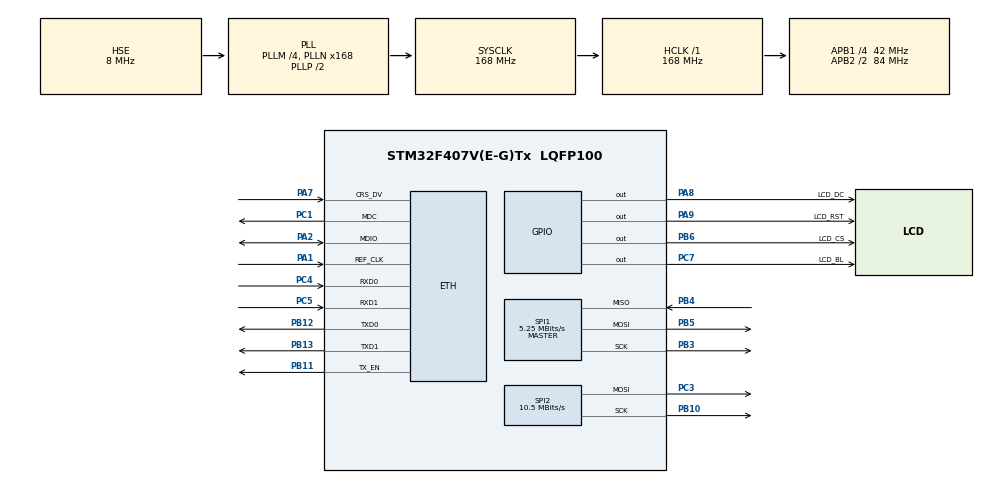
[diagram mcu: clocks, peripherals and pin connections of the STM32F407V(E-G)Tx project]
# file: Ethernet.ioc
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ETH.MediaInterface=ETH_MEDIA_INTERFACE_RMII
ETH.PHY_Name_RMII=DP83848_PHY_ADDRESS
LWIP.GATEWAY_ADDRESS=192.168.018.001
LWIP.IP_ADDRESS=192.168.018.254
LWIP.LWIP_DHCP=1
LWIP.NETMASK_ADDRESS=255.255.255.000
LWIP.Version=v2.1.2_Cube
Mcu.Family=STM32F4
Mcu.Name=STM32F407V(E-G)Tx
Mcu.Package=LQFP100
NVIC.PriorityGroup=NVIC_PRIORITYGROUP_4
NVIC.TIM4_IRQn=true\:1\:0\:true\:false\:true\:true\:true
PA1.Mode=RMII
PA1.Signal=ETH_REF_CLK
PA2.Mode=RMII
PA2.Signal=ETH_MDIO
PA7.Mode=RMII
PA7.Signal=ETH_CRS_DV
PA8.GPIO_Label=LCD_DC
PA8.Signal=GPIO_Output
PA9.GPIO_Label=LCD_RST
PA9.Signal=GPIO_Output
PB10.Mode=TX_Only_Simplex_Unidirect_Master
PB10.Signal=SPI2_SCK
PB11.Mode=RMII
PB11.Signal=ETH_TX_EN
PB12.Mode=RMII
PB12.Signal=ETH_TXD0
PB13.Mode=RMII
PB13.Signal=ETH_TXD1
PB3.Mode=Full_Duplex_Master
PB3.Signal=SPI1_SCK
PB4.Mode=Full_Duplex_Master
PB4.Signal=SPI1_MISO
PB5.Mode=Full_Duplex_Master
PB5.Signal=SPI1_MOSI
PB6.GPIO_Label=LCD_CS
PB6.Signal=GPIO_Output
PC1.Mode=RMII
PC1.Signal=ETH_MDC
PC3.Mode=TX_Only_Simplex_Unidirect_Master
PC3.Signal=SPI2_MOSI
PC4.Mode=RMII
PC4.Signal=ETH_RXD0
PC5.Mode=RMII
PC5.Signal=ETH_RXD1
PC7.GPIO_Label=LCD_BL
PC7.Signal=GPIO_Output
PH0-OSC_IN.Mode=HSE-External-Oscillator
PH0-OSC_IN.Signal=RCC_OSC_IN
PH1-OSC_OUT.Mode=HSE-External-Oscillator
PH1-OSC_OUT.Signal=RCC_OSC_OUT
ProjectManager.HeapSize=0x200
ProjectManager.StackSize=0x400
ProjectManager.TargetToolchain=STM32CubeIDE
RCC.48MHZClocksFreq_Value=84000000
RCC.AHBFreq_Value=168000000
RCC.APB1CLKDivider=RCC_HCLK_DIV4
RCC.APB1Freq_Value=42000000
RCC.APB1TimFreq_Value=84000000
RCC.APB2CLKDivider=RCC_HCLK_DIV2
RCC.APB2Freq_Value=84000000
RCC.APB2TimFreq_Value=168000000
RCC.CortexFreq_Value=168000000
RCC.HCLKFreq_Value=168000000
RCC.HSE_VALUE=8000000
RCC.HSI_VALUE=16000000
RCC.LSE_VALUE=32768
RCC.PLLM=4
RCC.PLLN=168
RCC.PLLSourceVirtual=RCC_PLLSOURCE_HSE
RCC.SYSCLKFreq_VALUE=168000000
RCC.SYSCLKSource=RCC_SYSCLKSOURCE_PLLCLK
RCC.VCOOutputFreq_Value=336000000
SPI1.BaudRatePrescaler=SPI_BAUDRATEPRESCALER_16
SPI1.CalculateBaudRate=5.25 MBits/s
SPI1.Direction=SPI_DIRECTION_2LINES
SPI1.Mode=SPI_MODE_MASTER
SPI1.VirtualType=VM_MASTER
SPI2.BaudRatePrescaler=SPI_BAUDRATEPRESCALER_4
SPI2.CLKPhase=SPI_PHASE_1EDGE
SPI2.CLKPolarity=SPI_POLARITY_LOW
SPI2.CalculateBaudRate=10.5 MBits/s
SPI2.Direction=SPI_DIRECTION_2LINES
SPI2.Mode=SPI_MODE_MASTER
SPI2.VirtualType=VM_MASTER
TIM4.Period=9999
TIM4.Prescaler=41999
VP_LWIP_VS_Enabled.Mode=Enabled
VP_TIM4_VS_ClockSourceINT.Mode=Internal
board=custom

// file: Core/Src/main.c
/* USER CODE BEGIN Header */
/**
  ******************************************************************************
  * @file           : main.c
  * @brief          : Main program body
  ******************************************************************************
  * @attention
  *
  * <h2><center>&copy; Copyright (c) 2020 STMicroelectronics.
  * All rights reserved.</center></h2>
  *
  * This software component is licensed by ST under BSD 3-Clause license,
  * the "License"; You may not use this file except in compliance with the
  * License. You may obtain a copy of the License at:
  *                        opensource.org/licenses/BSD-3-Clause
  *
  ******************************************************************************
  */
/* USER CODE END Header */

#include "main.h"
#include "lwip.h"

/* USER CODE BEGIN Includes */
#include "lwip/opt.h"
#include "lwip/init.h"
#include "lwip/netif.h"
#include "lwip/timeouts.h"
#include "netif/etharp.h"
#include "ethernetif.h"
#include "udp_server.h"
#include "ff.h"
/* USER CODE END Includes */

SPI_HandleTypeDef hspi1;
SPI_HandleTypeDef hspi2;

TIM_HandleTypeDef htim4;

/* USER CODE BEGIN PV */
struct netif gnetif;
int val = 0;
char database[] = "user database.txt";
FRESULT res;
FATFS* fs;
FILINFO * fno;
/* USER CODE END PV */

void SystemClock_Config(void);
static void MX_GPIO_Init(void);
static void MX_SPI1_Init(void);
static void MX_SPI2_Init(void);
static void MX_TIM4_Init(void);
/* USER CODE BEGIN PFP */
void HAL_TIM_PeriodElapsedCallback(TIM_HandleTypeDef *htim){
 if(htim->Instance == TIM4)
 {

	 int temp = byte_counter/5;
	 byte_counter=0;
	 LCD_DisplayString(40,50, "        ", &Font12, BLACK, GREEN);
	 LCD_DisplayNum(40,50, temp, &Font12, BLACK, GREEN);
	  //if(global_resp==FR_OK)
	  		 //LCD_DisplayString(55, 35, "IN ", &Font12, BLACK, GREEN);
	  	// else
	  	 //{
	  	//	 LCD_DisplayString(55, 35, "OUT", &Font12, BLACK, GREEN);
	  	// }

 }
}
/* USER CODE END PFP */

int main(void)
{

  /* MCU Configuration--------------------------------------------------------*/

  /* Reset of all peripherals, Initializes the Flash interface and the Systick. */
  HAL_Init();

  /* Configure the system clock */
  SystemClock_Config();

  /* Initialize all configured peripherals */
  MX_GPIO_Init();
  MX_LWIP_Init();
  MX_SPI1_Init();
  MX_SPI2_Init();
  MX_TIM4_Init();
  /* USER CODE BEGIN 2 */
  udp_server_init();
  HAL_TIM_Base_Start_IT(&htim4);
  LCD_DisplayString(5, 50, "LINK:", &Font12, BLACK, GREEN);
  LCD_DisplayString(100, 50, "B/s", &Font12, BLACK, GREEN);
  	//LCD_Clear(BLACK);
  	//vertical

  /* USER CODE END 2 */

  /* Infinite loop */
  /* USER CODE BEGIN WHILE */
  while (1)
  {
	  ethernetif_input(&gnetif);
	  	  sys_check_timeouts();
    /* USER CODE END WHILE */

    /* USER CODE BEGIN 3 */
#ifdef USE_DHCP
    DHCP_Periodic_Handle(&gnetif);
#endif
  }
  /* USER CODE END 3 */
}

void SystemClock_Config(void)
{
  RCC_OscInitTypeDef RCC_OscInitStruct = {0};
  RCC_ClkInitTypeDef RCC_ClkInitStruct = {0};

  /** Configure the main internal regulator output voltage
  */
  __HAL_RCC_PWR_CLK_ENABLE();
  __HAL_PWR_VOLTAGESCALING_CONFIG(PWR_REGULATOR_VOLTAGE_SCALE1);
  /** Initializes the CPU, AHB and APB busses clocks
  */
  RCC_OscInitStruct.OscillatorType = RCC_OSCILLATORTYPE_HSE;
  RCC_OscInitStruct.HSEState = RCC_HSE_ON;
  RCC_OscInitStruct.PLL.PLLState = RCC_PLL_ON;
  RCC_OscInitStruct.PLL.PLLSource = RCC_PLLSOURCE_HSE;
  RCC_OscInitStruct.PLL.PLLM = 4;
  RCC_OscInitStruct.PLL.PLLN = 168;
  RCC_OscInitStruct.PLL.PLLP = RCC_PLLP_DIV2;
  RCC_OscInitStruct.PLL.PLLQ = 4;
  if (HAL_RCC_OscConfig(&RCC_OscInitStruct) != HAL_OK)
  {
    Error_Handler();
  }
  /** Initializes the CPU, AHB and APB busses clocks
  */
  RCC_ClkInitStruct.ClockType = RCC_CLOCKTYPE_HCLK|RCC_CLOCKTYPE_SYSCLK
                              |RCC_CLOCKTYPE_PCLK1|RCC_CLOCKTYPE_PCLK2;
  RCC_ClkInitStruct.SYSCLKSource = RCC_SYSCLKSOURCE_PLLCLK;
  RCC_ClkInitStruct.AHBCLKDivider = RCC_SYSCLK_DIV1;
  RCC_ClkInitStruct.APB1CLKDivider = RCC_HCLK_DIV4;
  RCC_ClkInitStruct.APB2CLKDivider = RCC_HCLK_DIV2;

  if (HAL_RCC_ClockConfig(&RCC_ClkInitStruct, FLASH_LATENCY_5) != HAL_OK)
  {
    Error_Handler();
  }
}

static void MX_SPI1_Init(void)
{

  /* SPI1 parameter configuration*/
  hspi1.Instance = SPI1;
  hspi1.Init.Mode = SPI_MODE_MASTER;
  hspi1.Init.Direction = SPI_DIRECTION_2LINES;
  hspi1.Init.DataSize = SPI_DATASIZE_8BIT;
  hspi1.Init.CLKPolarity = SPI_POLARITY_LOW;
  hspi1.Init.CLKPhase = SPI_PHASE_1EDGE;
  hspi1.Init.NSS = SPI_NSS_SOFT;
  hspi1.Init.BaudRatePrescaler = SPI_BAUDRATEPRESCALER_16;
  hspi1.Init.FirstBit = SPI_FIRSTBIT_MSB;
  hspi1.Init.TIMode = SPI_TIMODE_DISABLE;
  hspi1.Init.CRCCalculation = SPI_CRCCALCULATION_DISABLE;
  hspi1.Init.CRCPolynomial = 10;
  if (HAL_SPI_Init(&hspi1) != HAL_OK)
  {
    Error_Handler();
  }

}

static void MX_SPI2_Init(void)
{

  /* SPI2 parameter configuration*/
  hspi2.Instance = SPI2;
  hspi2.Init.Mode = SPI_MODE_MASTER;
  hspi2.Init.Direction = SPI_DIRECTION_2LINES;
  hspi2.Init.DataSize = SPI_DATASIZE_8BIT;
  hspi2.Init.CLKPolarity = SPI_POLARITY_LOW;
  hspi2.Init.CLKPhase = SPI_PHASE_1EDGE;
  hspi2.Init.NSS = SPI_NSS_SOFT;
  hspi2.Init.BaudRatePrescaler = SPI_BAUDRATEPRESCALER_4;
  hspi2.Init.FirstBit = SPI_FIRSTBIT_MSB;
  hspi2.Init.TIMode = SPI_TIMODE_DISABLE;
  hspi2.Init.CRCCalculation = SPI_CRCCALCULATION_DISABLE;
  hspi2.Init.CRCPolynomial = 10;
  if (HAL_SPI_Init(&hspi2) != HAL_OK)
  {
    Error_Handler();
  }

}

static void MX_TIM4_Init(void)
{

  TIM_ClockConfigTypeDef sClockSourceConfig = {0};
  TIM_MasterConfigTypeDef sMasterConfig = {0};

  htim4.Instance = TIM4;
  htim4.Init.Prescaler = 41999;
  htim4.Init.CounterMode = TIM_COUNTERMODE_UP;
  htim4.Init.Period = 9999;
  htim4.Init.ClockDivision = TIM_CLOCKDIVISION_DIV1;
  htim4.Init.AutoReloadPreload = TIM_AUTORELOAD_PRELOAD_DISABLE;
  if (HAL_TIM_Base_Init(&htim4) != HAL_OK)
  {
    Error_Handler();
  }
  sClockSourceConfig.ClockSource = TIM_CLOCKSOURCE_INTERNAL;
  if (HAL_TIM_ConfigClockSource(&htim4, &sClockSourceConfig) != HAL_OK)
  {
    Error_Handler();
  }
  sMasterConfig.MasterOutputTrigger = TIM_TRGO_RESET;
  sMasterConfig.MasterSlaveMode = TIM_MASTERSLAVEMODE_DISABLE;
  if (HAL_TIMEx_MasterConfigSynchronization(&htim4, &sMasterConfig) != HAL_OK)
  {
    Error_Handler();
  }

}

static void MX_GPIO_Init(void)
{
  GPIO_InitTypeDef GPIO_InitStruct = {0};

  /* GPIO Ports Clock Enable */
  __HAL_RCC_GPIOH_CLK_ENABLE();
  __HAL_RCC_GPIOC_CLK_ENABLE();
  __HAL_RCC_GPIOA_CLK_ENABLE();
  __HAL_RCC_GPIOB_CLK_ENABLE();

  /*Configure GPIO pin Output Level */
  HAL_GPIO_WritePin(LCD_BL_GPIO_Port, LCD_BL_Pin, GPIO_PIN_RESET);

  /*Configure GPIO pin Output Level */
  HAL_GPIO_WritePin(GPIOA, LCD_DC_Pin|LCD_RST_Pin, GPIO_PIN_RESET);

  /*Configure GPIO pin Output Level */
  HAL_GPIO_WritePin(LCD_CS_GPIO_Port, LCD_CS_Pin, GPIO_PIN_RESET);

  /*Configure GPIO pin : LCD_BL_Pin */
  GPIO_InitStruct.Pin = LCD_BL_Pin;
  GPIO_InitStruct.Mode = GPIO_MODE_OUTPUT_PP;
  GPIO_InitStruct.Pull = GPIO_NOPULL;
  GPIO_InitStruct.Speed = GPIO_SPEED_FREQ_LOW;
  HAL_GPIO_Init(LCD_BL_GPIO_Port, &GPIO_InitStruct);

  /*Configure GPIO pins : LCD_DC_Pin LCD_RST_Pin */
  GPIO_InitStruct.Pin = LCD_DC_Pin|LCD_RST_Pin;
  GPIO_InitStruct.Mode = GPIO_MODE_OUTPUT_PP;
  GPIO_InitStruct.Pull = GPIO_NOPULL;
  GPIO_InitStruct.Speed = GPIO_SPEED_FREQ_LOW;
  HAL_GPIO_Init(GPIOA, &GPIO_InitStruct);

  /*Configure GPIO pin : LCD_CS_Pin */
  GPIO_InitStruct.Pin = LCD_CS_Pin;
  GPIO_InitStruct.Mode = GPIO_MODE_OUTPUT_PP;
  GPIO_InitStruct.Pull = GPIO_NOPULL;
  GPIO_InitStruct.Speed = GPIO_SPEED_FREQ_LOW;
  HAL_GPIO_Init(LCD_CS_GPIO_Port, &GPIO_InitStruct);

}

void Error_Handler(void)
{
}

/************************ (C) COPYRIGHT STMicroelectronics *****END OF FILE****/
